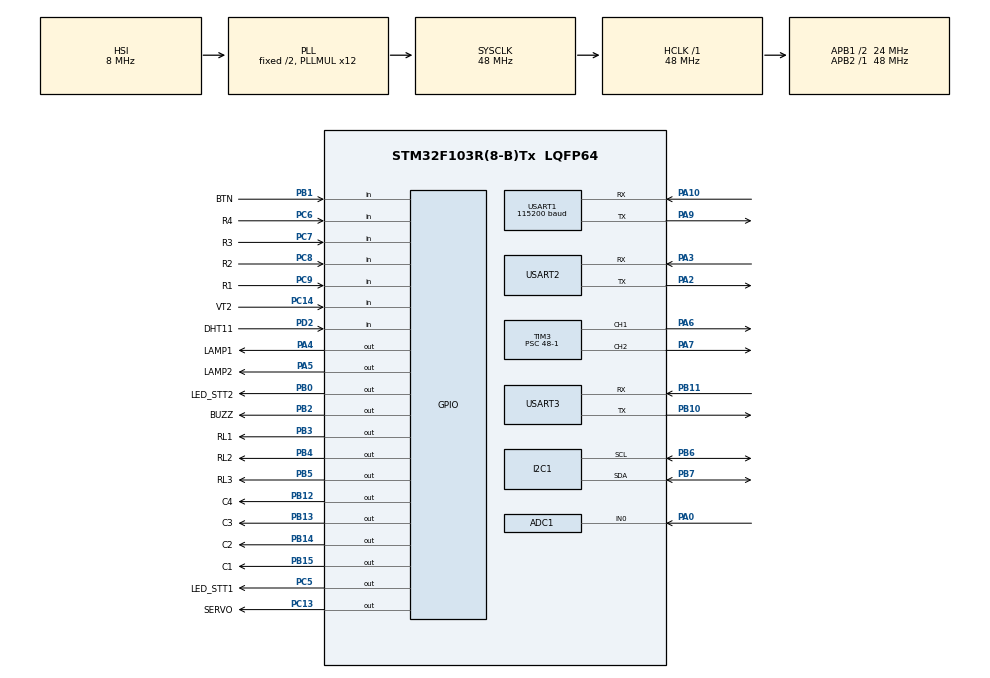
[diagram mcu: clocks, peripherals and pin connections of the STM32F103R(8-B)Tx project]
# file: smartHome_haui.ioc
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ADC1.Channel-0\#ChannelRegularConversion=ADC_CHANNEL_0
ADC1.ContinuousConvMode=ENABLE
ADC1.NbrOfConversionFlag=1
ADC1.Rank-0\#ChannelRegularConversion=1
ADC1.SamplingTime-0\#ChannelRegularConversion=ADC_SAMPLETIME_239CYCLES_5
ADC1.master=1
Dma.ADC1.0.Direction=DMA_PERIPH_TO_MEMORY
Dma.ADC1.0.Instance=DMA1_Channel1
Dma.ADC1.0.MemDataAlignment=DMA_MDATAALIGN_HALFWORD
Dma.ADC1.0.MemInc=DMA_MINC_ENABLE
Dma.ADC1.0.Mode=DMA_CIRCULAR
Dma.ADC1.0.PeriphDataAlignment=DMA_PDATAALIGN_HALFWORD
Dma.ADC1.0.PeriphInc=DMA_PINC_DISABLE
Dma.ADC1.0.Priority=DMA_PRIORITY_LOW
Dma.Request0=ADC1
Mcu.Family=STM32F1
Mcu.Name=STM32F103R(8-B)Tx
Mcu.Package=LQFP64
NVIC.DMA1_Channel1_IRQn=true\:7\:0\:true\:false\:true\:false\:true\:true
NVIC.PriorityGroup=NVIC_PRIORITYGROUP_4
NVIC.TIM1_UP_IRQn=true\:0\:0\:false\:false\:true\:true\:true\:true
NVIC.TIM2_IRQn=true\:0\:0\:false\:false\:true\:true\:true\:true
NVIC.TIM4_IRQn=true\:15\:0\:false\:false\:true\:false\:true\:true
NVIC.TimeBase=TIM4_IRQn
NVIC.TimeBaseIP=TIM4
NVIC.USART2_IRQn=true\:1\:0\:true\:false\:true\:true\:true\:true
NVIC.USART3_IRQn=true\:3\:0\:true\:false\:true\:true\:true\:true
PA0-WKUP.Signal=ADCx_IN0
PA10.Mode=Asynchronous
PA10.Signal=USART1_RX
PA13.Mode=Serial_Wire
PA13.Signal=SYS_JTMS-SWDIO
PA14.Mode=Serial_Wire
PA14.Signal=SYS_JTCK-SWCLK
PA2.Mode=Asynchronous
PA2.Signal=USART2_TX
PA3.Mode=Asynchronous
PA3.Signal=USART2_RX
PA4.GPIO_Label=LAMP1
PA4.GPIO_PuPd=GPIO_NOPULL
PA4.GPIO_Speed=GPIO_SPEED_FREQ_HIGH
PA4.Signal=GPIO_Output
PA5.GPIO_Label=LAMP2
PA5.GPIO_PuPd=GPIO_NOPULL
PA5.GPIO_Speed=GPIO_SPEED_FREQ_HIGH
PA5.Signal=GPIO_Output
PA6.Signal=S_TIM3_CH1
PA7.Signal=S_TIM3_CH2
PA9.Mode=Asynchronous
PA9.Signal=USART1_TX
PB0.GPIO_Label=LED_STT2
PB0.Signal=GPIO_Output
PB1.GPIO_Label=BTN
PB1.GPIO_PuPd=GPIO_PULLUP
PB1.Signal=GPIO_Input
PB10.Mode=Asynchronous
PB10.Signal=USART3_TX
PB11.Mode=Asynchronous
PB11.Signal=USART3_RX
PB12.GPIO_Label=C4
PB12.GPIO_Speed=GPIO_SPEED_FREQ_HIGH
PB12.Signal=GPIO_Output
PB13.GPIO_Label=C3
PB13.GPIO_Speed=GPIO_SPEED_FREQ_HIGH
PB13.Signal=GPIO_Output
PB14.GPIO_Label=C2
PB14.GPIO_Speed=GPIO_SPEED_FREQ_HIGH
PB14.Signal=GPIO_Output
PB15.GPIO_Label=C1
PB15.GPIO_Speed=GPIO_SPEED_FREQ_HIGH
PB15.Signal=GPIO_Output
PB2.GPIO_Label=BUZZ
PB2.Signal=GPIO_Output
PB3.GPIO_Label=RL1
PB3.Signal=GPIO_Output
PB4.GPIO_Label=RL2
PB4.Signal=GPIO_Output
PB5.GPIO_Label=RL3
PB5.Signal=GPIO_Output
PB6.Mode=I2C
PB6.Signal=I2C1_SCL
PB7.Mode=I2C
PB7.Signal=I2C1_SDA
PC13-TAMPER-RTC.GPIO_Label=SERVO
PC13-TAMPER-RTC.GPIO_PuPd=GPIO_PULLUP
PC13-TAMPER-RTC.GPIO_Speed=GPIO_SPEED_FREQ_HIGH
PC13-TAMPER-RTC.Signal=GPIO_Output
PC14-OSC32_IN.GPIO_Label=VT2
PC14-OSC32_IN.Signal=GPIO_Input
PC5.GPIO_Label=LED_STT1
PC5.GPIO_Speed=GPIO_SPEED_FREQ_LOW
PC5.Signal=GPIO_Output
PC6.GPIO_Label=R4
PC6.GPIO_PuPd=GPIO_PULLUP
PC6.Signal=GPIO_Input
PC7.GPIO_Label=R3
PC7.GPIO_PuPd=GPIO_PULLUP
PC7.Signal=GPIO_Input
PC8.GPIO_Label=R2
PC8.GPIO_PuPd=GPIO_PULLUP
PC8.Signal=GPIO_Input
PC9.GPIO_Label=R1
PC9.GPIO_PuPd=GPIO_PULLUP
PC9.Signal=GPIO_Input
PD2.GPIO_Label=DHT11
PD2.Signal=GPIO_Input
ProjectManager.HeapSize=0x200
ProjectManager.StackSize=0x400
ProjectManager.TargetToolchain=STM32CubeIDE
RCC.ADCPresc=RCC_ADCPCLK2_DIV4
RCC.AHBFreq_Value=48000000
RCC.APB1CLKDivider=RCC_HCLK_DIV2
RCC.APB1Freq_Value=24000000
RCC.APB1TimFreq_Value=48000000
RCC.APB2Freq_Value=48000000
RCC.APB2TimFreq_Value=48000000
RCC.HCLKFreq_Value=48000000
RCC.PLLMUL=RCC_PLL_MUL12
RCC.SYSCLKFreq_VALUE=48000000
RCC.SYSCLKSource=RCC_SYSCLKSOURCE_PLLCLK
RCC.USBFreq_Value=48000000
SH.ADCx_IN0.0=ADC1_IN0,IN0
SH.S_TIM3_CH1.0=TIM3_CH1,PWM Generation1 CH1
SH.S_TIM3_CH2.0=TIM3_CH2,PWM Generation2 CH2
TIM1.Period=10-1
TIM1.Prescaler=48-1
TIM1.TIM_MasterOutputTrigger=TIM_TRGO_UPDATE
TIM2.AutoReloadPreload=TIM_AUTORELOAD_PRELOAD_DISABLE
TIM2.Period=9
TIM2.Prescaler=48-1
TIM2.TIM_MasterOutputTrigger=TIM_TRGO_UPDATE
TIM3.Channel-PWM\ Generation1\ CH1=TIM_CHANNEL_1
TIM3.Channel-PWM\ Generation2\ CH2=TIM_CHANNEL_2
TIM3.Prescaler=48-1
USART1.BaudRate=115200
USART1.VirtualMode=VM_ASYNC
USART2.VirtualMode=VM_ASYNC
USART3.VirtualMode=VM_ASYNC
VP_SYS_VS_tim4.Mode=TIM4
VP_TIM1_VS_ClockSourceINT.Mode=Internal
VP_TIM2_VS_ClockSourceINT.Mode=Internal
board=custom

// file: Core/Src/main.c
/* USER CODE BEGIN Header */
/**
  ******************************************************************************
  * @file           : main.c
  * @brief          : Main program body
  ******************************************************************************
  * @attention
  *
  * Copyright (c) 2025 STMicroelectronics.
  * All rights reserved.
  *
  * This software is licensed under terms that can be found in the LICENSE file
  * in the root directory of this software component.
  * If no LICENSE file comes with this software, it is provided AS-IS.
  *
  ******************************************************************************
  */
/* USER CODE END Header */
#include "main.h"
#include "adc.h"
#include "dma.h"
#include "i2c.h"
#include "tim.h"
#include "usart.h"
#include "gpio.h"

/* USER CODE BEGIN Includes */

#include "user_lib/lcd_i2c.h"
#include "user_lib/my_debug.h"
#include "user_lib/board_drive.h"
#include "user_lib/password_handle.h"
#include "user_lib/keypad.h"
#include "user_lib/app.h"
#include "user_lib/bh1750.h"
#include "user_lib/mk_dht11.h"
#include "user_lib/servo.h"

/* USER CODE END Includes */

/* USER CODE BEGIN PTD */

uint32_t adc_avg=0;
uint16_t lux = 0;

/* USER CODE END PTD */

/* USER CODE BEGIN PM */

uint32_t count=0;

void HAL_UART_RxCpltCallback(UART_HandleTypeDef *huart)
{
	  if(huart->Instance==huart2.Instance)
	  {
		  uartIntHandle(&esp32_uart);
	  }
	  HAL_UART_Receive_IT(&huart2,&esp32_uart.char_data_rec,1);
}

/* USER CODE END PM */

void SystemClock_Config(void);

int main(void)
{

  /* MCU Configuration--------------------------------------------------------*/

  /* Reset of all peripherals, Initializes the Flash interface and the Systick. */
  HAL_Init();

  /* Configure the system clock */
  SystemClock_Config();

  /* Initialize all configured peripherals */
  MX_GPIO_Init();
  MX_DMA_Init();
  MX_ADC1_Init();
  MX_I2C1_Init();
  MX_USART1_UART_Init();
  MX_USART2_UART_Init();
  MX_USART3_UART_Init();
  MX_TIM2_Init();
  MX_TIM3_Init();
  MX_TIM1_Init();
  /* USER CODE BEGIN 2 */
  rl1(off);
  rl2(off);
  rl3(off);

  lamp1(off);
  lamp2(off);

  buzz(off);
  //door(CLOSE);

  TIM3_ConfigFrequency(5000);
  PWM_Start();
  TIM3_SetDuty_CH1(0);
  TIM3_SetDuty_CH2(0);

  // Khởi tạo soft-servo
  SoftServo_Init(&g_softservo, &htim2);
  SoftServo_AddChannel(&g_softservo, SERVO_GPIO_Port, SERVO_Pin, 0.6f, 2.4f);
  // Đặt góc
  SoftServo_SetAngle(&g_softservo, 0, 0.0f);
  dong_cua();

  BH1750_Init(&hi2c1);
  BH1750_SetMode(CONTINUOUS_HIGH_RES_MODE_2);
  init_dht11(&dht, &htim2, DHT11_GPIO_Port, DHT11_Pin);

  HAL_ADC_Start_DMA(&hadc1, (uint32_t*)adc_mq2, 64);
  HAL_UART_Receive_IT(&huart2,&esp32_uart.char_data_rec,1);
  HAL_Delay(500);
  lcd_init();
  lcd_clear();
  lcd_string(1, 1, "Run application");
  HAL_Delay(500);
  lcd_clear();

  /* USER CODE END 2 */

  /* Infinite loop */
  /* USER CODE BEGIN WHILE */
  while (1)
  {
	  man_hinh_cho();
	  nhap_phim();

    /* USER CODE END WHILE */

  }
}

void SystemClock_Config(void)
{
  RCC_OscInitTypeDef RCC_OscInitStruct = {0};
  RCC_ClkInitTypeDef RCC_ClkInitStruct = {0};
  RCC_PeriphCLKInitTypeDef PeriphClkInit = {0};

  /** Initializes the RCC Oscillators according to the specified parameters
  * in the RCC_OscInitTypeDef structure.
  */
  RCC_OscInitStruct.OscillatorType = RCC_OSCILLATORTYPE_HSI;
  RCC_OscInitStruct.HSIState = RCC_HSI_ON;
  RCC_OscInitStruct.HSICalibrationValue = RCC_HSICALIBRATION_DEFAULT;
  RCC_OscInitStruct.PLL.PLLState = RCC_PLL_ON;
  RCC_OscInitStruct.PLL.PLLSource = RCC_PLLSOURCE_HSI_DIV2;
  RCC_OscInitStruct.PLL.PLLMUL = RCC_PLL_MUL12;
  if (HAL_RCC_OscConfig(&RCC_OscInitStruct) != HAL_OK)
  {
    Error_Handler();
  }

  /** Initializes the CPU, AHB and APB buses clocks
  */
  RCC_ClkInitStruct.ClockType = RCC_CLOCKTYPE_HCLK|RCC_CLOCKTYPE_SYSCLK
                              |RCC_CLOCKTYPE_PCLK1|RCC_CLOCKTYPE_PCLK2;
  RCC_ClkInitStruct.SYSCLKSource = RCC_SYSCLKSOURCE_PLLCLK;
  RCC_ClkInitStruct.AHBCLKDivider = RCC_SYSCLK_DIV1;
  RCC_ClkInitStruct.APB1CLKDivider = RCC_HCLK_DIV2;
  RCC_ClkInitStruct.APB2CLKDivider = RCC_HCLK_DIV1;

  if (HAL_RCC_ClockConfig(&RCC_ClkInitStruct, FLASH_LATENCY_1) != HAL_OK)
  {
    Error_Handler();
  }
  PeriphClkInit.PeriphClockSelection = RCC_PERIPHCLK_ADC;
  PeriphClkInit.AdcClockSelection = RCC_ADCPCLK2_DIV4;
  if (HAL_RCCEx_PeriphCLKConfig(&PeriphClkInit) != HAL_OK)
  {
    Error_Handler();
  }
}

void HAL_TIM_PeriodElapsedCallback(TIM_HandleTypeDef *htim)
{
  if (htim->Instance == TIM4) {
    HAL_IncTick();
  }
  /* USER CODE BEGIN Callback 1 */

  if (htim->Instance == g_softservo.htim_base->Instance) {
      SoftServo_OnTimerISR(&g_softservo);
  }

  /* USER CODE END Callback 1 */
}

void Error_Handler(void)
{
  __disable_irq();
  while (1)
  {
  }
}
